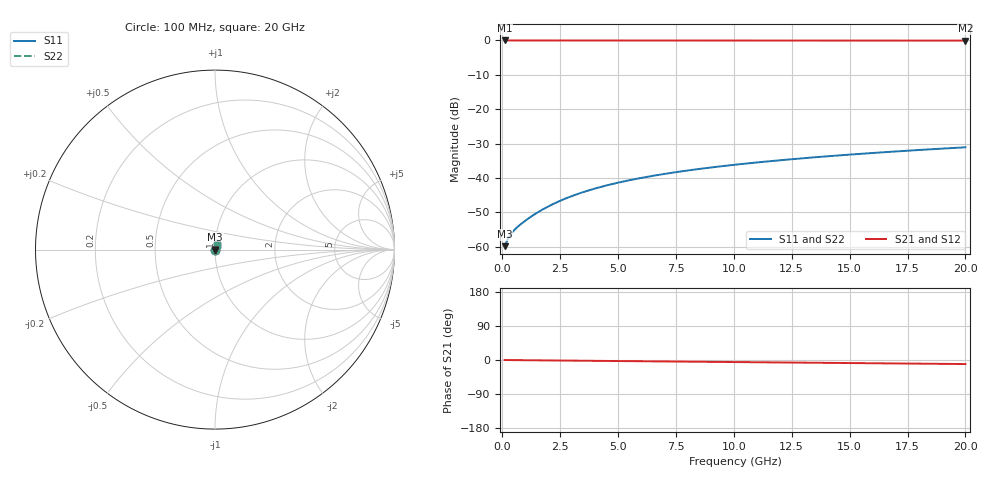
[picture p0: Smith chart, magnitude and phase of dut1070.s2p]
! Touchstone file exported from HFSS 2026.1.0
!  File:  C:/ffzhzh/LocalFiles/Ansys_Project_Files/temp_train_TMRDL_1070_1783160698_43440.aedt
!  Generated:  06:26:09 PM Jul  4, 2026
!  Design:  TMRDL
!  Project:  temp_train_TMRDL_1070_1783160698_43440
! Variables:
!  h_bsmrdl = 2um
!  h_ox = 20um
!  h_rdl = 5um
!  h_sub = 80um
!  h_tmrdl = 3.69um
!  h_tsv = 80um
!  h_via = 3um
!  l_bsmrdl = 300um
!  l_sub = 575.21um
!  l_tmrdl = 175.21um
!  m_sub = 200um
!  pitch = 29.12um
!  r_tsv = 6um
!  s_tmrdl = 10um
!  w_bsmrdl = 18um
!  w_sub = 500um
!  w_tmrdl = 23.2um
!  x_tsv_center1 = 186.81um
!  x_tsv_center2 = 504.81um
!  x_tsv_center3 = 703.22um
!  x_tsv_center4 = 1021.22um
!  x_tsv_center5 = 1219.63um
!  x_tsv_center6 = 1537.63um
# GHz S MA R 50.000000
! Terminal data exported
! Port[1] = TM_RDL1_1_T1
! Port[2] = TM_RDL1_1_T2
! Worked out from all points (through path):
!   200 points, 100 MHz to 20 GHz, reference 50 ohm
!   highest |S21| = -0.01 dB at 100 MHz (marker M1); lowest = -0.1 dB at 20 GHz (marker M2)
!   group delay of S21, straight-line fit = 1.48 ps
!   lowest |S11| = -59.9 dB at 100 MHz (marker M3), VSWR 1.00, Z = 50.1 + j0.0312 ohm
!   |S11| at or under -10 dB: start of sweep to end of sweep
!   |S22| runs from -59.9 to -31.1 dB; largest |S21 - S12| = 2.8e-15
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0.1  0.001015 17.9  0.999 -0.1  0.999 -0.1  0.001015 17.9
! Gamma 0 0 0 0
! Port Impedance 50 0 50 0
0.2  0.001203 28.5  0.9989 -0.1  0.9989 -0.1  0.001203 28.5
0.3  0.001395 34.1  0.9988 -0.2  0.9988 -0.2  0.001395 34.1
0.4  0.001565 37.7  0.9988 -0.2  0.9988 -0.2  0.001565 37.7
0.5  0.001716 40.6  0.9987 -0.3  0.9987 -0.3  0.001716 40.6
0.6  0.001854 43.2  0.9987 -0.3  0.9987 -0.3  0.001854 43.2
0.8  0.002121 47.8  0.9986 -0.5  0.9986 -0.5  0.002121 47.8
1.2  0.002668 55.2  0.9985 -0.7  0.9985 -0.7  0.002668 55.2
1.7  0.003404 61.4  0.9984 -0.9  0.9984 -0.9  0.003404 61.4
2.2  0.004174 65.2  0.9983 -1.2  0.9983 -1.2  0.004174 65.2
2.8  0.005115 67.9  0.9982 -1.6  0.9982 -1.6  0.005115 67.9
3.5  0.006214 69.7  0.998 -1.9  0.998 -1.9  0.006214 69.7
4.2  0.007298 70.6  0.9978 -2.3  0.9978 -2.3  0.007298 70.7
5  0.008512 71.2  0.9976 -2.8  0.9976 -2.8  0.008512 71.2
5.9  0.009841 71.4  0.9973 -3.2  0.9973 -3.2  0.009841 71.4
6.8  0.01113 71.4  0.9971 -3.7  0.9971 -3.7  0.01113 71.4
8.3  0.01321 71.2  0.9966 -4.5  0.9966 -4.5  0.01321 71.2
10.1  0.01561 70.8  0.9962 -5.5  0.9962 -5.5  0.01561 70.8
11.7  0.01767 70.3  0.9958 -6.3  0.9958 -6.3  0.01767 70.4
13.4  0.01982 69.9  0.9954 -7.2  0.9954 -7.2  0.01982 69.9
16.7  0.02389 68.9  0.9947 -9.0  0.9947 -9.0  0.02389 68.9
20  0.02786 67.9  0.9941 -10.7  0.9941 -10.7  0.02786 67.9
